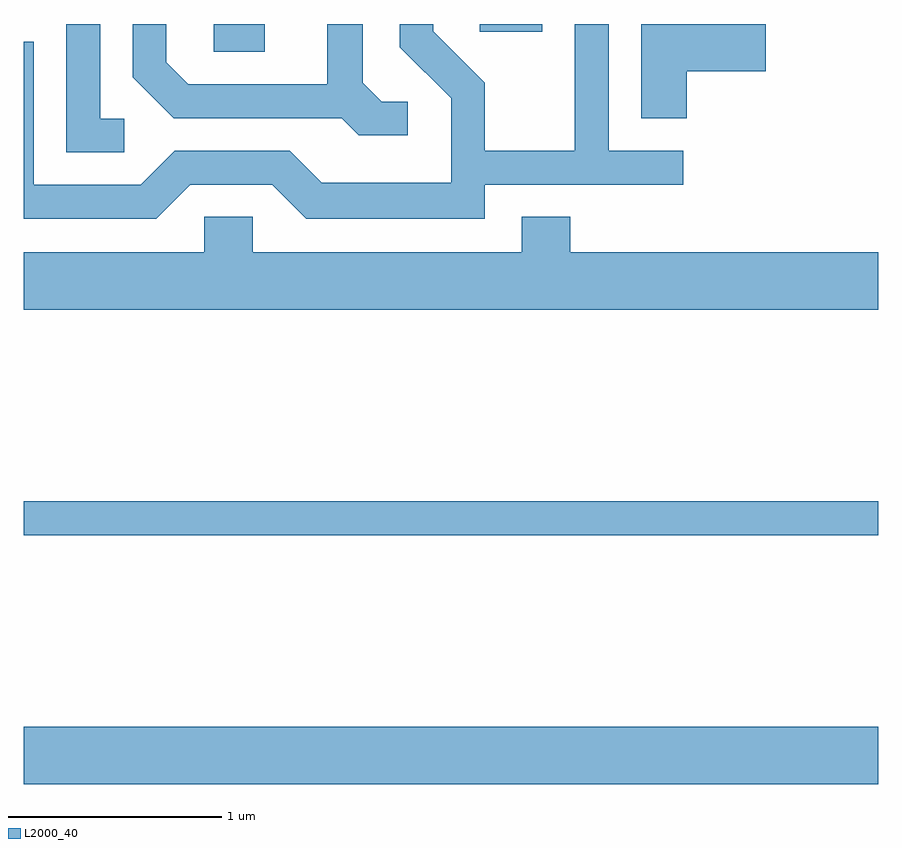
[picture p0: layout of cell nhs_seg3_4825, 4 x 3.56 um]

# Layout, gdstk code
import gdstk
lib = gdstk.Library(unit=1e-6, precision=1e-09)
def R(c, l, rs):  # rectangles x0, y0, x1, y1
    for r in rs: c.add(gdstk.rectangle(r[:2], r[2:], *l))
def P(c, l, *ps):  # polygons
    for p in ps: c.add(gdstk.Polygon(p, *l))
L2000_40 = (2000, 40)

nhs_seg3_4825 = lib.new_cell('nhs_seg3_4825')
R(nhs_seg3_4825, L2000_40, [(325.611,1250.336,329.611,1250.604), (325.611,1251.501,329.611,1251.659), (326.501,1253.761,326.739,1253.892), (327.746,1253.856,328.039,1253.892)])
P(nhs_seg3_4825, L2000_40, [(326.083,1253.449),(325.969,1253.449),(325.969,1253.892),(325.811,1253.892),(325.811,1253.291),(326.083,1253.291)],
  [(326.392,1253.141),(326.774,1253.141),(326.934,1252.981),(327.769,1252.981),(327.769,1253.141),(328.698,1253.141),(328.698,1253.299),(328.349,1253.299),(328.349,1253.892),(328.191,1253.892),(328.191,1253.299),(327.769,1253.299),(327.769,1253.617),(327.529,1253.857),(327.529,1253.892),(327.371,1253.892),(327.371,1253.784),(327.611,1253.544),(327.611,1253.149),(327.007,1253.149),(326.857,1253.299),(326.319,1253.299),(326.159,1253.139),(325.659,1253.139),(325.659,1253.809),(325.611,1253.809),(325.611,1252.981),(326.232,1252.981)],
  [(327.408,1253.529),(327.287,1253.529),(327.199,1253.617),(327.199,1253.892),(327.031,1253.892),(327.031,1253.609),(326.382,1253.609),(326.279,1253.712),(326.279,1253.892),(326.121,1253.892),(326.121,1253.644),(326.314,1253.451),(327.099,1253.451),(327.179,1253.371),(327.408,1253.371)],
  [(328.714,1253.671),(329.084,1253.671),(329.084,1253.892),(328.501,1253.892),(328.501,1253.451),(328.714,1253.451)],
  [(329.611,1252.824),(328.169,1252.824),(328.169,1252.989),(327.941,1252.989),(327.941,1252.824),(326.684,1252.824),(326.684,1252.989),(326.456,1252.989),(326.456,1252.824),(325.611,1252.824),(325.611,1252.556),(329.611,1252.556)])

lib.write_gds('nhs_seg3_4825.gds')
